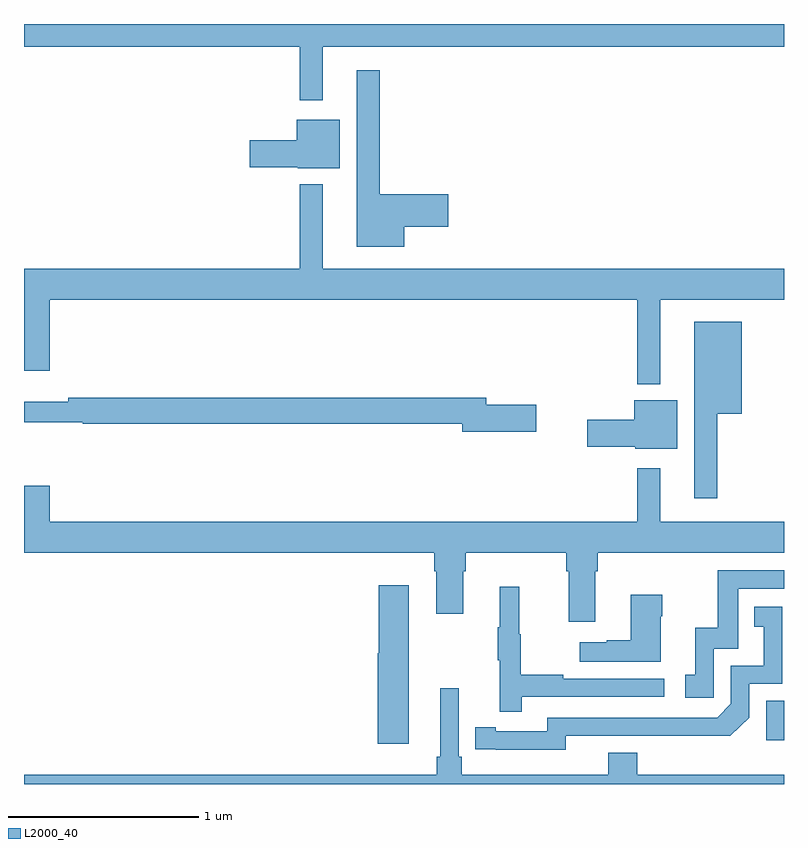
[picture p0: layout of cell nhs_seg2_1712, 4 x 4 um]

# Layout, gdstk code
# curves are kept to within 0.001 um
import gdstk
lib = gdstk.Library(unit=1e-6, precision=1e-09)
def R(c, l, rs):  # rectangles x0, y0, x1, y1
    for r in rs: c.add(gdstk.rectangle(r[:2], r[2:], *l))
def P(c, l, *ps):  # polygons
    for p in ps: c.add(gdstk.Polygon(p, *l))
L2000_40 = (2000, 40)

nhs_seg2_1712 = lib.new_cell('nhs_seg2_1712')
R(nhs_seg2_1712, L2000_40, [(204.906,600.03,205,600.237)])
P(nhs_seg2_1712, L2000_40, [(202.573,603.68),(205,603.68),(205,603.8),(201,603.8),(201,603.68),(202.452,603.68),(202.452,603.399),(202.573,603.399)],
  [(203.002,602.732),(203.233,602.732),(203.233,602.903),(202.873,602.903),(202.873,603.556),(202.751,603.556),(202.751,602.627),(203.002,602.627)],
  [(202.663,603.295),(202.436,603.295),(202.436,603.189),(202.188,603.189),(202.188,603.047),(202.44,603.047),(202.44,603.041),(202.663,603.041)],
  [(202.573,602.956),(202.452,602.956),(202.452,602.512),(201,602.512),(201,601.974),(201.136,601.974),(201.136,602.348),(204.228,602.348),(204.228,601.904),(204.349,601.904),(204.349,602.348),(205,602.348),(205,602.512),(202.573,602.512)],
  [(204.649,601.748),(204.778,601.748),(204.778,602.233),(204.527,602.233),(204.527,601.305),(204.649,601.305)],
  [(203.695,601.796),(203.434,601.796),(203.434,601.832),(201.232,601.832),(201.232,601.813),(201,601.813),(201,601.704),(201.31,601.704),(201.31,601.696),(203.306,601.696),(203.306,601.654),(203.695,601.654)],
  [(204.439,601.819),(204.212,601.819),(204.212,601.718),(203.964,601.718),(203.964,601.576),(204.216,601.576),(204.216,601.565),(204.439,601.565)],
  [(204.007,600.92),(204.02,600.92),(204.02,601.016),(205,601.016),(205,601.18),(204.349,601.18),(204.349,601.462),(204.228,601.462),(204.228,601.18),(201.136,601.18),(201.136,601.369),(201,601.369),(201,601.016),(203.159,601.016),(203.159,600.92),(203.171,600.92),(203.171,600.696),(203.311,600.696),(203.311,600.92),(203.324,600.92),(203.324,601.016),(203.855,601.016),(203.855,600.92),(203.867,600.92),(203.867,600.654),(204.007,600.654)],
  [(204.63,600.513),(204.759,600.513),(204.759,600.828),(205,600.828),(205,600.924),(204.651,600.924),(204.651,600.622),(204.533,600.622),(204.533,600.375),(204.48,600.375),(204.48,600.255),(204.63,600.255)],
  [(203.026,600.847),(202.868,600.847),(202.868,600.489),(202.862,600.489),(202.862,600.012),(203.026,600.012)],
  [(203.621,600.258),(204.37,600.258),(204.37,600.354),(203.837,600.354),(203.837,600.374),(203.614,600.374),(203.614,600.588),(203.606,600.588),(203.606,600.838),(203.504,600.838),(203.504,600.625),(203.493,600.625),(203.493,600.451),(203.504,600.451),(203.504,600.18),(203.621,600.18)],
  [(204.352,600.683),(204.36,600.683),(204.36,600.796),(204.194,600.796),(204.194,600.557),(204.068,600.557),(204.068,600.547),(203.925,600.547),(203.925,600.443),(204.352,600.443)],
  [(203.85,600.054),(204.718,600.053),(204.816,600.15),(204.816,600.327),(204.99,600.327),(204.99,600.733),(204.844,600.733),(204.844,600.627),(204.893,600.627),(204.893,600.423),(204.72,600.423),(204.72,600.222),(204.648,600.15),(203.754,600.15),(203.754,600.078),(203.482,600.078),(203.482,600.098),(203.374,600.098),(203.374,599.982),(203.85,599.981)],
  [(205,599.848),(204.227,599.848),(204.227,599.965),(204.074,599.965),(204.074,599.848),(203.303,599.848),(203.303,599.944),(203.289,599.944),(203.289,600.304),(203.192,600.304),(203.192,599.944),(203.173,599.944),(203.173,599.848),(201,599.848),(201,599.8),(205,599.8)])

lib.write_gds('nhs_seg2_1712.gds')
